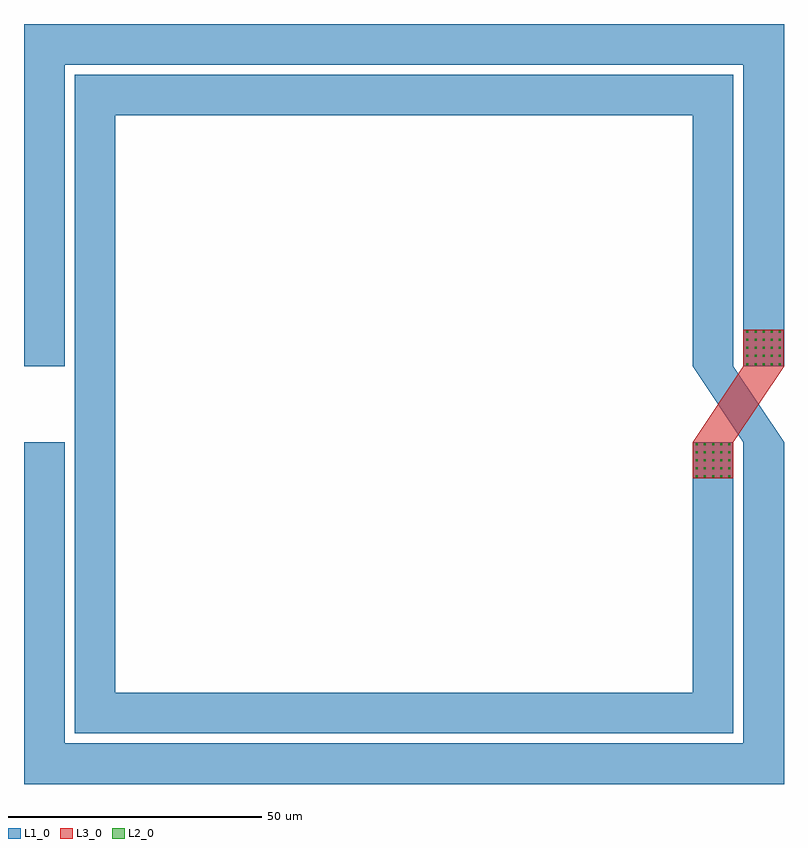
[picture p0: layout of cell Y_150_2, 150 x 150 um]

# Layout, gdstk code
import gdstk
lib = gdstk.Library(unit=1e-6, precision=1e-09)
def R(c, l, rs):  # rectangles x0, y0, x1, y1
    for r in rs: c.add(gdstk.rectangle(r[:2], r[2:], *l))
def A(c, l, x, y, w, h, nx, ny, dx, dy):  # array of equal rectangles
    R(c, l, [(x+i*dx, y+j*dy, x+i*dx+w, y+j*dy+h) for i in range(nx) for j in range(ny)])
def P(c, l, *ps):  # polygons
    for p in ps: c.add(gdstk.Polygon(p, *l))
L1_0 = (1, 0)
L2_0 = (2, 0)
L3_0 = (3, 0)

y_150_2 = lib.new_cell('Y_150_2')
R(y_150_2, L1_0, [(232.005,167.805,239.995,174.995), (110,175,118,182.5), (110,182.5,118,190), (242.005,189.995,249.995,197.185)])
P(y_150_2, L1_0, [(100,190),(100,257.5),(108,249.5),(108,190)],
  [(108,249.5),(100,257.5),(250,257.5),(242,249.5)],
  [(242,190),(242,249.5),(250,257.5),(250,190)],
  [(240,117.5),(232,125.5),(232,175),(240,175)],
  [(110,117.5),(118,125.5),(232,125.5),(240,117.5)],
  [(110,117.5),(110,175),(118,175),(118,125.5)],
  [(110,190),(110,247.5),(118,239.5),(118,190)],
  [(118,239.5),(110,247.5),(240,247.5),(232,239.5)],
  [(232,190),(232,239.5),(240,247.5),(240,190)],
  [(242,175),(232,190),(240,190),(250,175)],
  [(250,107.5),(242,115.5),(242,175),(250,175)],
  [(100,107.5),(108,115.5),(242,115.5),(250,107.5)],
  [(100,107.5),(100,175),(108,175),(108,115.5)])
A(y_150_2, L2_0, 232.59, 168, 0.4, 0.4, 5, 2, 1.6, 3.19)
A(y_150_2, L2_0, 232.59, 169.59, 0.4, 0.41, 5, 1, 1.6, 0)
A(y_150_2, L2_0, 232.59, 172.79, 0.4, 0.4, 5, 2, 1.6, 1.6)
A(y_150_2, L2_0, 242.59, 190.19, 0.4, 0.4, 5, 5, 1.6, 1.6)
R(y_150_2, L3_0, [(232.005,167.805,239.995,174.995), (242.005,189.995,249.995,197.185)])
P(y_150_2, L3_0, [(232,175),(242,190),(250,190),(240,175)])

lib.write_gds('Y_150_2.gds')
